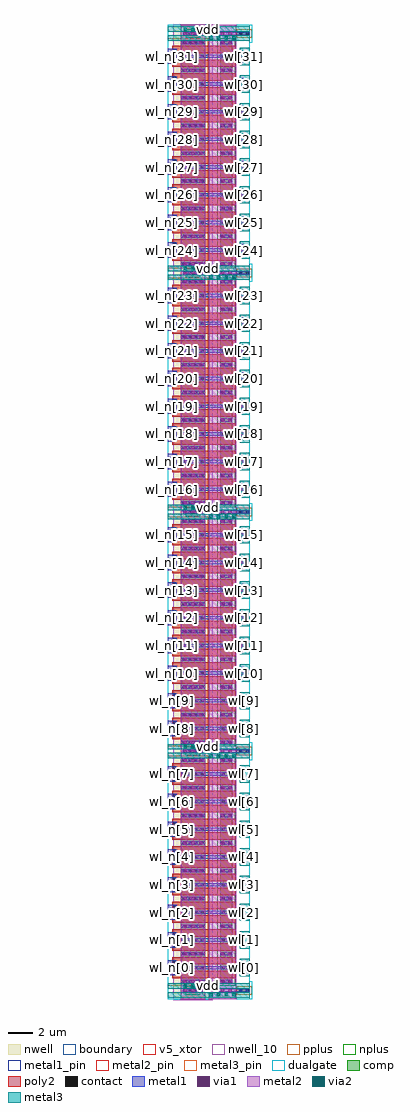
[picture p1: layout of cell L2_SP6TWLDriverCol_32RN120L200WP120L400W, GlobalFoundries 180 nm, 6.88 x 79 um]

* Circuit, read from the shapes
.subckt L2_SP6TWLDriverCol_32RN120L200WP120L400W vdd vss wl[0] wl[10] wl[11] wl[12] wl[13] wl[14] wl[15] wl[16] wl[17] wl[18] wl[19] wl[1] wl[20] wl[21] wl[22] wl[23] wl[24] wl[25] wl[26] wl[27] wl[28] wl[29] wl[2] wl[30] wl[31] wl[3] wl[4] wl[5] wl[6] wl[7] wl[8] wl[9] wl_n[0] wl_n[10] wl_n[11] wl_n[12] wl_n[13] wl_n[14] wl_n[15] wl_n[16] wl_n[17] wl_n[18] wl_n[19] wl_n[1] wl_n[20] wl_n[21] wl_n[22] wl_n[23] wl_n[24] wl_n[25] wl_n[26] wl_n[27] wl_n[28] wl_n[29] wl_n[2] wl_n[30] wl_n[31] wl_n[3] wl_n[4] wl_n[5] wl_n[6] wl_n[7] wl_n[8] wl_n[9]
XM1 wl[0] wl_n[0] vss vss nfet_05v0 w=1u l=0.6u m=2
XM2 wl[1] wl_n[1] vss vss nfet_05v0 w=1u l=0.6u m=2
XM3 wl[2] wl_n[2] vss vss nfet_05v0 w=1u l=0.6u m=2
XM4 wl[3] wl_n[3] vss vss nfet_05v0 w=1u l=0.6u m=2
XM5 wl[4] wl_n[4] vss vss nfet_05v0 w=1u l=0.6u m=2
XM6 wl[5] wl_n[5] vss vss nfet_05v0 w=1u l=0.6u m=2
XM7 wl[6] wl_n[6] vss vss nfet_05v0 w=1u l=0.6u m=2
XM8 wl[7] wl_n[7] vss vss nfet_05v0 w=1u l=0.6u m=2
XM9 wl[8] wl_n[8] vss vss nfet_05v0 w=1u l=0.6u m=2
XM10 wl[9] wl_n[9] vss vss nfet_05v0 w=1u l=0.6u m=2
XM11 wl[10] wl_n[10] vss vss nfet_05v0 w=1u l=0.6u m=2
XM12 wl[11] wl_n[11] vss vss nfet_05v0 w=1u l=0.6u m=2
XM13 wl[12] wl_n[12] vss vss nfet_05v0 w=1u l=0.6u m=2
XM14 wl[13] wl_n[13] vss vss nfet_05v0 w=1u l=0.6u m=2
XM15 wl[14] wl_n[14] vss vss nfet_05v0 w=1u l=0.6u m=2
XM16 wl[15] wl_n[15] vss vss nfet_05v0 w=1u l=0.6u m=2
XM17 wl[16] wl_n[16] vss vss nfet_05v0 w=1u l=0.6u m=2
XM18 wl[17] wl_n[17] vss vss nfet_05v0 w=1u l=0.6u m=2
XM19 wl[18] wl_n[18] vss vss nfet_05v0 w=1u l=0.6u m=2
XM20 wl[19] wl_n[19] vss vss nfet_05v0 w=1u l=0.6u m=2
XM21 wl[20] wl_n[20] vss vss nfet_05v0 w=1u l=0.6u m=2
XM22 wl[21] wl_n[21] vss vss nfet_05v0 w=1u l=0.6u m=2
XM23 wl[22] wl_n[22] vss vss nfet_05v0 w=1u l=0.6u m=2
XM24 wl[23] wl_n[23] vss vss nfet_05v0 w=1u l=0.6u m=2
XM25 wl[24] wl_n[24] vss vss nfet_05v0 w=1u l=0.6u m=2
XM26 wl[25] wl_n[25] vss vss nfet_05v0 w=1u l=0.6u m=2
XM27 wl[26] wl_n[26] vss vss nfet_05v0 w=1u l=0.6u m=2
XM28 wl[27] wl_n[27] vss vss nfet_05v0 w=1u l=0.6u m=2
XM29 wl[28] wl_n[28] vss vss nfet_05v0 w=1u l=0.6u m=2
XM30 wl[29] wl_n[29] vss vss nfet_05v0 w=1u l=0.6u m=2
XM31 wl[30] wl_n[30] vss vss nfet_05v0 w=1u l=0.6u m=2
XM32 wl[31] wl_n[31] vss vss nfet_05v0 w=1u l=0.6u m=2
XM33 wl[0] wl_n[0] vdd vdd pfet_05v0 w=2u l=0.6u m=2
XM34 wl[1] wl_n[1] vdd vdd pfet_05v0 w=2u l=0.6u m=2
XM35 wl[2] wl_n[2] vdd vdd pfet_05v0 w=2u l=0.6u m=2
XM36 wl[3] wl_n[3] vdd vdd pfet_05v0 w=2u l=0.6u m=2
XM37 wl[4] wl_n[4] vdd vdd pfet_05v0 w=2u l=0.6u m=2
XM38 wl[5] wl_n[5] vdd vdd pfet_05v0 w=2u l=0.6u m=2
XM39 wl[6] wl_n[6] vdd vdd pfet_05v0 w=2u l=0.6u m=2
XM40 wl[7] wl_n[7] vdd vdd pfet_05v0 w=2u l=0.6u m=2
XM41 wl[8] wl_n[8] vdd vdd pfet_05v0 w=2u l=0.6u m=2
XM42 wl[9] wl_n[9] vdd vdd pfet_05v0 w=2u l=0.6u m=2
XM43 wl[10] wl_n[10] vdd vdd pfet_05v0 w=2u l=0.6u m=2
XM44 wl[11] wl_n[11] vdd vdd pfet_05v0 w=2u l=0.6u m=2
XM45 wl[12] wl_n[12] vdd vdd pfet_05v0 w=2u l=0.6u m=2
XM46 wl[13] wl_n[13] vdd vdd pfet_05v0 w=2u l=0.6u m=2
XM47 wl[14] wl_n[14] vdd vdd pfet_05v0 w=2u l=0.6u m=2
XM48 wl[15] wl_n[15] vdd vdd pfet_05v0 w=2u l=0.6u m=2
XM49 wl[16] wl_n[16] vdd vdd pfet_05v0 w=2u l=0.6u m=2
XM50 wl[17] wl_n[17] vdd vdd pfet_05v0 w=2u l=0.6u m=2
XM51 wl[18] wl_n[18] vdd vdd pfet_05v0 w=2u l=0.6u m=2
XM52 wl[19] wl_n[19] vdd vdd pfet_05v0 w=2u l=0.6u m=2
XM53 wl[20] wl_n[20] vdd vdd pfet_05v0 w=2u l=0.6u m=2
XM54 wl[21] wl_n[21] vdd vdd pfet_05v0 w=2u l=0.6u m=2
XM55 wl[22] wl_n[22] vdd vdd pfet_05v0 w=2u l=0.6u m=2
XM56 wl[23] wl_n[23] vdd vdd pfet_05v0 w=2u l=0.6u m=2
XM57 wl[24] wl_n[24] vdd vdd pfet_05v0 w=2u l=0.6u m=2
XM58 wl[25] wl_n[25] vdd vdd pfet_05v0 w=2u l=0.6u m=2
XM59 wl[26] wl_n[26] vdd vdd pfet_05v0 w=2u l=0.6u m=2
XM60 wl[27] wl_n[27] vdd vdd pfet_05v0 w=2u l=0.6u m=2
XM61 wl[28] wl_n[28] vdd vdd pfet_05v0 w=2u l=0.6u m=2
XM62 wl[29] wl_n[29] vdd vdd pfet_05v0 w=2u l=0.6u m=2
XM63 wl[30] wl_n[30] vdd vdd pfet_05v0 w=2u l=0.6u m=2
XM64 wl[31] wl_n[31] vdd vdd pfet_05v0 w=2u l=0.6u m=2
.ends

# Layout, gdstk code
import gdstk
lib = gdstk.Library(unit=1e-6, precision=1e-09)
def R(c, l, rs):  # rectangles x0, y0, x1, y1
    for r in rs: c.add(gdstk.rectangle(r[:2], r[2:], *l))
def A(c, l, x, y, w, h, nx, ny, dx, dy):  # array of equal rectangles
    R(c, l, [(x+i*dx, y+j*dy, x+i*dx+w, y+j*dy+h) for i in range(nx) for j in range(ny)])
def P(c, l, *ps):  # polygons
    for p in ps: c.add(gdstk.Polygon(p, *l))
boundary = (0, 0)
nwell = (21, 0)
nwell_10 = (21, 10)
comp = (22, 0)
poly2 = (30, 0)
pplus = (31, 0)
nplus = (32, 0)
contact = (33, 0)
metal1 = (34, 0)
metal1_pin = (34, 10)
via1 = (35, 0)
metal2 = (36, 0)
metal2_pin = (36, 10)
via2 = (38, 0)
metal3 = (42, 0)
metal3_pin = (42, 10)
dualgate = (55, 0)
v5_xtor = (112, 1)

l2_sp6twldriver_n120l200 = lib.new_cell('L2_SP6TWLDriver_N120L200WP120L400W')
R(l2_sp6twldriver_n120l200, boundary, [(-6.64,0,0,2.24)])
R(l2_sp6twldriver_n120l200, nwell, [(-6.18,-0.78,-2.98,3.02)])
R(l2_sp6twldriver_n120l200, nwell_10, [(-6.18,-0.78,-2.98,3.02)])
R(l2_sp6twldriver_n120l200, comp, [(-5.58,-0.18,-3.58,2.42), (-5.58,-0.18,-3.58,2.42), (-2.38,-0.18,-1.38,2.42), (-2.38,-0.18,-1.38,2.42)])
P(l2_sp6twldriver_n120l200, poly2, [(-6.24,0.26),(-6.24,1.98),(-1.16,1.98),(-1.16,1.38),(-5.88,1.38),(-5.88,0.86),(-1.16,0.86),(-1.16,0.26)])
R(l2_sp6twldriver_n120l200, pplus, [(-6.64,-0.34,-3.35,2.58)])
R(l2_sp6twldriver_n120l200, nplus, [(-2.61,-0.34,-1.15,2.58)])
A(l2_sp6twldriver_n120l200, contact, -5.44, -0.11, 0.22, 0.22, 4, 3, 0.5, 1.12)
A(l2_sp6twldriver_n120l200, contact, -2.24, -0.11, 0.22, 0.22, 1, 3, 0, 1.12)
A(l2_sp6twldriver_n120l200, contact, -1.74, -0.11, 0.22, 0.22, 1, 3, 0, 1.12)
A(l2_sp6twldriver_n120l200, contact, -6.17, 0.51, 0.22, 0.22, 1, 3, 0, 0.5)
R(l2_sp6twldriver_n120l200, metal1, [(-5.58,-0.13,-3.58,0.13), (-2.38,-0.13,-1.38,0.13), (-6.64,0.505,-5.89,1.735), (-5.5,0.99,-0.43,1.25), (-5.58,2.11,-3.58,2.37), (-2.38,2.11,-1.38,2.37)])
R(l2_sp6twldriver_n120l200, metal1_pin, [(-6.64,0.505,-5.89,1.735)])
A(l2_sp6twldriver_n120l200, via1, -5.33, -0.13, 0.26, 0.26, 3, 2, 0.62, 2.24)
R(l2_sp6twldriver_n120l200, via1, [(-2.32,-0.13,-2.06,0.13), (-1.7,-0.13,-1.44,0.13), (-0.75,0.99,-0.49,1.25), (-2.32,2.11,-2.06,2.37), (-1.7,2.11,-1.44,2.37)])
R(l2_sp6twldriver_n120l200, metal2, [(-5.58,-0.14,-3.58,2.38), (-3.3,-0.14,-1.09,2.38), (-0.76,0.62,-0.48,1.62)])
R(l2_sp6twldriver_n120l200, metal2_pin, [(-5.58,-0.14,-3.58,2.38), (-3.3,-0.14,-1.09,2.38)])
R(l2_sp6twldriver_n120l200, via2, [(-0.75,0.68,-0.49,0.94), (-0.75,1.3,-0.49,1.56)])
R(l2_sp6twldriver_n120l200, metal3, [(-0.81,0.42,0,1.82)])
R(l2_sp6twldriver_n120l200, metal3_pin, [(-0.81,0.42,0,1.82)])
R(l2_sp6twldriver_n120l200, dualgate, [(-6.64,-0.42,0,2.66)])
R(l2_sp6twldriver_n120l200, v5_xtor, [(-5.585,0.255,-3.575,0.865), (-2.385,0.255,-1.375,0.865), (-5.585,1.375,-3.575,1.985), (-2.385,1.375,-1.375,1.985)])
l2_sp6twldriver_n120l200.add(gdstk.Label('wl_n', (-6.265,1.12), layer=34, texttype=10))
l2_sp6twldriver_n120l200.add(gdstk.Label('nwell', (-4.58,1.12), layer=21, texttype=10))
l2_sp6twldriver_n120l200.add(gdstk.Label('wl_drive', (-0.405,1.12), layer=42, texttype=10))
l2_sp6twldriver_n120l200.add(gdstk.Label('vdd', (-4.58,1.12), layer=36, texttype=10))
l2_sp6twldriver_n120l200.add(gdstk.Label('vss', (-2.195,1.12), layer=36, texttype=10))

l2_sp6twldriverbc_n120l2 = lib.new_cell('L2_SP6TWLDriverBC_N120L200WP120L400W')
R(l2_sp6twldriverbc_n120l2, boundary, [(-6.64,0,0,1.44)])
R(l2_sp6twldriverbc_n120l2, nwell, [(-6.18,-0.06,-2.98,1.5)])
R(l2_sp6twldriverbc_n120l2, nwell_10, [(-6.18,-0.06,-2.98,1.5)])
R(l2_sp6twldriverbc_n120l2, comp, [(-5.01,0.54,-4.15,0.9), (-0.86,0.54,0,0.9)])
R(l2_sp6twldriverbc_n120l2, pplus, [(-1.02,0.38,0.16,1.06)])
R(l2_sp6twldriverbc_n120l2, nplus, [(-5.17,0.38,-3.99,1.06)])
R(l2_sp6twldriverbc_n120l2, contact, [(-4.94,0.61,-4.72,0.83), (-4.44,0.61,-4.22,0.83), (-0.79,0.61,-0.57,0.83), (-0.29,0.61,-0.07,0.83)])
R(l2_sp6twldriverbc_n120l2, metal1, [(-5.39,0.59,-3.77,0.85)])
P(l2_sp6twldriverbc_n120l2, metal1, [(-3.005,0.59),(-3.005,0.85),(-1.385,0.85),(-1.385,0.835),(0,0.835),(0,0.605),(-1.385,0.605),(-1.385,0.59)])
A(l2_sp6twldriverbc_n120l2, via1, -5.33, 0.59, 0.26, 0.26, 3, 1, 0.62, 0)
A(l2_sp6twldriverbc_n120l2, via1, -2.945, 0.59, 0.26, 0.26, 3, 1, 0.62, 0)
R(l2_sp6twldriverbc_n120l2, metal2, [(-5.58,0,-3.58,1.44), (-3.3,0,-1.09,1.44)])
R(l2_sp6twldriverbc_n120l2, metal2_pin, [(-5.58,0,-3.58,1.44), (-3.3,0,-1.09,1.44)])
A(l2_sp6twldriverbc_n120l2, via2, -3.255, 0.23, 0.26, 0.26, 4, 1, 0.62, 0)
A(l2_sp6twldriverbc_n120l2, via2, -5.33, 0.95, 0.26, 0.26, 3, 1, 0.62, 0)
R(l2_sp6twldriverbc_n120l2, metal3, [(-6.64,0.14,0,0.58), (-6.64,0.86,0,1.3)])
R(l2_sp6twldriverbc_n120l2, metal3_pin, [(-6.64,0.14,0,0.58), (-6.64,0.86,0,1.3)])
R(l2_sp6twldriverbc_n120l2, dualgate, [(-6.64,0,0.24,1.44)])
l2_sp6twldriverbc_n120l2.add(gdstk.Label('vdd', (-4.58,0.72), layer=21, texttype=10))
l2_sp6twldriverbc_n120l2.add(gdstk.Label('vdd', (-3.32,1.08), layer=42, texttype=10))
l2_sp6twldriverbc_n120l2.add(gdstk.Label('vss', (-3.32,0.36), layer=42, texttype=10))
l2_sp6twldriverbc_n120l2.add(gdstk.Label('vdd', (-4.58,0.72), layer=36, texttype=10))
l2_sp6twldriverbc_n120l2.add(gdstk.Label('vss', (-2.195,0.72), layer=36, texttype=10))

l2_sp6twldrivercol_32rn1 = lib.new_cell('L2_SP6TWLDriverCol_32RN120L200WP120L400W')
R(l2_sp6twldrivercol_32rn1, boundary, [(0,0,6.64,78.88)])
A(l2_sp6twldrivercol_32rn1, metal1, 0, 1.945, 0.75, 1.23, 1, 8, 0, 2.24)
A(l2_sp6twldrivercol_32rn1, metal1, 0, 21.305, 0.75, 1.23, 1, 8, 0, 2.24)
A(l2_sp6twldrivercol_32rn1, metal1, 0, 40.665, 0.75, 1.23, 1, 8, 0, 2.24)
A(l2_sp6twldrivercol_32rn1, metal1, 0, 60.025, 0.75, 1.23, 1, 8, 0, 2.24)
A(l2_sp6twldrivercol_32rn1, metal1_pin, 0, 1.945, 0.75, 1.23, 1, 8, 0, 2.24)
A(l2_sp6twldrivercol_32rn1, metal1_pin, 0, 21.305, 0.75, 1.23, 1, 8, 0, 2.24)
A(l2_sp6twldrivercol_32rn1, metal1_pin, 0, 40.665, 0.75, 1.23, 1, 8, 0, 2.24)
A(l2_sp6twldrivercol_32rn1, metal1_pin, 0, 60.025, 0.75, 1.23, 1, 8, 0, 2.24)
R(l2_sp6twldrivercol_32rn1, metal2, [(1.06,0,3.06,78.88), (3.34,0,5.55,78.88)])
R(l2_sp6twldrivercol_32rn1, metal2_pin, [(1.06,0,3.06,78.88), (3.34,0,5.55,78.88)])
A(l2_sp6twldrivercol_32rn1, metal3, 5.83, 1.86, 0.81, 1.4, 1, 8, 0, 2.24)
A(l2_sp6twldrivercol_32rn1, metal3, 5.83, 21.22, 0.81, 1.4, 1, 8, 0, 2.24)
A(l2_sp6twldrivercol_32rn1, metal3, 5.83, 40.58, 0.81, 1.4, 1, 8, 0, 2.24)
A(l2_sp6twldrivercol_32rn1, metal3, 5.83, 59.94, 0.81, 1.4, 1, 8, 0, 2.24)
R(l2_sp6twldrivercol_32rn1, metal3, [(0,0.14,6.64,0.58), (0,0.86,6.64,1.3), (0,19.5,6.64,19.94), (0,20.22,6.64,20.66), (0,38.86,6.64,39.3), (0,39.58,6.64,40.02), (0,58.22,6.64,58.66), (0,58.94,6.64,59.38), (0,77.58,6.64,78.02), (0,78.3,6.64,78.74)])
A(l2_sp6twldrivercol_32rn1, metal3_pin, 5.83, 1.86, 0.81, 1.4, 1, 8, 0, 2.24)
A(l2_sp6twldrivercol_32rn1, metal3_pin, 5.83, 21.22, 0.81, 1.4, 1, 8, 0, 2.24)
A(l2_sp6twldrivercol_32rn1, metal3_pin, 5.83, 40.58, 0.81, 1.4, 1, 8, 0, 2.24)
A(l2_sp6twldrivercol_32rn1, metal3_pin, 5.83, 59.94, 0.81, 1.4, 1, 8, 0, 2.24)
R(l2_sp6twldrivercol_32rn1, metal3_pin, [(0,0.14,6.64,0.58), (0,0.86,6.64,1.3), (0,19.5,6.64,19.94), (0,20.22,6.64,20.66), (0,38.86,6.64,39.3), (0,39.58,6.64,40.02), (0,58.22,6.64,58.66), (0,58.94,6.64,59.38), (0,77.58,6.64,78.02), (0,78.3,6.64,78.74)])
l2_sp6twldrivercol_32rn1.add(gdstk.Reference(l2_sp6twldriver_n120l200, (6.64,3.68)))
l2_sp6twldrivercol_32rn1.add(gdstk.Reference(l2_sp6twldriver_n120l200, (6.64,8.16)))
l2_sp6twldrivercol_32rn1.add(gdstk.Reference(l2_sp6twldriver_n120l200, (6.64,12.64)))
l2_sp6twldrivercol_32rn1.add(gdstk.Reference(l2_sp6twldriver_n120l200, (6.64,17.12)))
l2_sp6twldrivercol_32rn1.add(gdstk.Reference(l2_sp6twldriver_n120l200, (6.64,23.04)))
l2_sp6twldrivercol_32rn1.add(gdstk.Reference(l2_sp6twldriver_n120l200, (6.64,27.52)))
l2_sp6twldrivercol_32rn1.add(gdstk.Reference(l2_sp6twldriver_n120l200, (6.64,32)))
l2_sp6twldrivercol_32rn1.add(gdstk.Reference(l2_sp6twldriver_n120l200, (6.64,36.48)))
l2_sp6twldrivercol_32rn1.add(gdstk.Reference(l2_sp6twldriver_n120l200, (6.64,42.4)))
l2_sp6twldrivercol_32rn1.add(gdstk.Reference(l2_sp6twldriver_n120l200, (6.64,46.88)))
l2_sp6twldrivercol_32rn1.add(gdstk.Reference(l2_sp6twldriver_n120l200, (6.64,51.36)))
l2_sp6twldrivercol_32rn1.add(gdstk.Reference(l2_sp6twldriver_n120l200, (6.64,55.84)))
l2_sp6twldrivercol_32rn1.add(gdstk.Reference(l2_sp6twldriver_n120l200, (6.64,61.76)))
l2_sp6twldrivercol_32rn1.add(gdstk.Reference(l2_sp6twldriver_n120l200, (6.64,66.24)))
l2_sp6twldrivercol_32rn1.add(gdstk.Reference(l2_sp6twldriver_n120l200, (6.64,70.72)))
l2_sp6twldrivercol_32rn1.add(gdstk.Reference(l2_sp6twldriver_n120l200, (6.64,75.2)))
l2_sp6twldrivercol_32rn1.add(gdstk.Reference(l2_sp6twldriver_n120l200, (6.64,3.68), x_reflection=True))
l2_sp6twldrivercol_32rn1.add(gdstk.Reference(l2_sp6twldriver_n120l200, (6.64,8.16), x_reflection=True))
l2_sp6twldrivercol_32rn1.add(gdstk.Reference(l2_sp6twldriver_n120l200, (6.64,12.64), x_reflection=True))
l2_sp6twldrivercol_32rn1.add(gdstk.Reference(l2_sp6twldriver_n120l200, (6.64,17.12), x_reflection=True))
l2_sp6twldrivercol_32rn1.add(gdstk.Reference(l2_sp6twldriver_n120l200, (6.64,23.04), x_reflection=True))
l2_sp6twldrivercol_32rn1.add(gdstk.Reference(l2_sp6twldriver_n120l200, (6.64,27.52), x_reflection=True))
l2_sp6twldrivercol_32rn1.add(gdstk.Reference(l2_sp6twldriver_n120l200, (6.64,32), x_reflection=True))
l2_sp6twldrivercol_32rn1.add(gdstk.Reference(l2_sp6twldriver_n120l200, (6.64,36.48), x_reflection=True))
l2_sp6twldrivercol_32rn1.add(gdstk.Reference(l2_sp6twldriver_n120l200, (6.64,42.4), x_reflection=True))
l2_sp6twldrivercol_32rn1.add(gdstk.Reference(l2_sp6twldriver_n120l200, (6.64,46.88), x_reflection=True))
l2_sp6twldrivercol_32rn1.add(gdstk.Reference(l2_sp6twldriver_n120l200, (6.64,51.36), x_reflection=True))
l2_sp6twldrivercol_32rn1.add(gdstk.Reference(l2_sp6twldriver_n120l200, (6.64,55.84), x_reflection=True))
l2_sp6twldrivercol_32rn1.add(gdstk.Reference(l2_sp6twldriver_n120l200, (6.64,61.76), x_reflection=True))
l2_sp6twldrivercol_32rn1.add(gdstk.Reference(l2_sp6twldriver_n120l200, (6.64,66.24), x_reflection=True))
l2_sp6twldrivercol_32rn1.add(gdstk.Reference(l2_sp6twldriver_n120l200, (6.64,70.72), x_reflection=True))
l2_sp6twldrivercol_32rn1.add(gdstk.Reference(l2_sp6twldriver_n120l200, (6.64,75.2), x_reflection=True))
l2_sp6twldrivercol_32rn1.add(gdstk.Reference(l2_sp6twldriverbc_n120l2, (6.64,0)))
l2_sp6twldrivercol_32rn1.add(gdstk.Reference(l2_sp6twldriverbc_n120l2, (6.64,19.36)))
l2_sp6twldrivercol_32rn1.add(gdstk.Reference(l2_sp6twldriverbc_n120l2, (6.64,38.72)))
l2_sp6twldrivercol_32rn1.add(gdstk.Reference(l2_sp6twldriverbc_n120l2, (6.64,58.08)))
l2_sp6twldrivercol_32rn1.add(gdstk.Reference(l2_sp6twldriverbc_n120l2, (6.64,77.44)))
l2_sp6twldrivercol_32rn1.add(gdstk.Label('wl_n[31]', (0.375,76.32), layer=34, texttype=10))
l2_sp6twldrivercol_32rn1.add(gdstk.Label('wl_n[30]', (0.375,74.08), layer=34, texttype=10))
l2_sp6twldrivercol_32rn1.add(gdstk.Label('wl_n[29]', (0.375,71.84), layer=34, texttype=10))
l2_sp6twldrivercol_32rn1.add(gdstk.Label('wl_n[9]', (0.375,24.16), layer=34, texttype=10))
l2_sp6twldrivercol_32rn1.add(gdstk.Label('wl_n[7]', (0.375,18.24), layer=34, texttype=10))
l2_sp6twldrivercol_32rn1.add(gdstk.Label('wl_n[3]', (0.375,9.28), layer=34, texttype=10))
l2_sp6twldrivercol_32rn1.add(gdstk.Label('wl_n[18]', (0.375,45.76), layer=34, texttype=10))
l2_sp6twldrivercol_32rn1.add(gdstk.Label('wl_n[11]', (0.375,28.64), layer=34, texttype=10))
l2_sp6twldrivercol_32rn1.add(gdstk.Label('wl_n[13]', (0.375,33.12), layer=34, texttype=10))
l2_sp6twldrivercol_32rn1.add(gdstk.Label('wl_n[10]', (0.375,26.4), layer=34, texttype=10))
l2_sp6twldrivercol_32rn1.add(gdstk.Label('wl_n[17]', (0.375,43.52), layer=34, texttype=10))
l2_sp6twldrivercol_32rn1.add(gdstk.Label('wl_n[14]', (0.375,35.36), layer=34, texttype=10))
l2_sp6twldrivercol_32rn1.add(gdstk.Label('wl_n[6]', (0.375,16), layer=34, texttype=10))
l2_sp6twldrivercol_32rn1.add(gdstk.Label('wl_n[2]', (0.375,7.04), layer=34, texttype=10))
l2_sp6twldrivercol_32rn1.add(gdstk.Label('wl_n[1]', (0.375,4.8), layer=34, texttype=10))
l2_sp6twldrivercol_32rn1.add(gdstk.Label('wl_n[8]', (0.375,21.92), layer=34, texttype=10))
l2_sp6twldrivercol_32rn1.add(gdstk.Label('wl_n[4]', (0.375,11.52), layer=34, texttype=10))
l2_sp6twldrivercol_32rn1.add(gdstk.Label('wl_n[25]', (0.375,62.88), layer=34, texttype=10))
l2_sp6twldrivercol_32rn1.add(gdstk.Label('wl_n[20]', (0.375,50.24), layer=34, texttype=10))
l2_sp6twldrivercol_32rn1.add(gdstk.Label('wl_n[27]', (0.375,67.36), layer=34, texttype=10))
l2_sp6twldrivercol_32rn1.add(gdstk.Label('wl_n[15]', (0.375,37.6), layer=34, texttype=10))
l2_sp6twldrivercol_32rn1.add(gdstk.Label('wl_n[5]', (0.375,13.76), layer=34, texttype=10))
l2_sp6twldrivercol_32rn1.add(gdstk.Label('wl_n[16]', (0.375,41.28), layer=34, texttype=10))
l2_sp6twldrivercol_32rn1.add(gdstk.Label('wl_n[24]', (0.375,60.64), layer=34, texttype=10))
l2_sp6twldrivercol_32rn1.add(gdstk.Label('wl_n[19]', (0.375,48), layer=34, texttype=10))
l2_sp6twldrivercol_32rn1.add(gdstk.Label('wl_n[12]', (0.375,30.88), layer=34, texttype=10))
l2_sp6twldrivercol_32rn1.add(gdstk.Label('wl_n[21]', (0.375,52.48), layer=34, texttype=10))
l2_sp6twldrivercol_32rn1.add(gdstk.Label('wl_n[23]', (0.375,56.96), layer=34, texttype=10))
l2_sp6twldrivercol_32rn1.add(gdstk.Label('wl_n[0]', (0.375,2.56), layer=34, texttype=10))
l2_sp6twldrivercol_32rn1.add(gdstk.Label('wl_n[26]', (0.375,65.12), layer=34, texttype=10))
l2_sp6twldrivercol_32rn1.add(gdstk.Label('wl_n[22]', (0.375,54.72), layer=34, texttype=10))
l2_sp6twldrivercol_32rn1.add(gdstk.Label('wl_n[28]', (0.375,69.6), layer=34, texttype=10))
l2_sp6twldrivercol_32rn1.add(gdstk.Label('wl[31]', (6.235,76.32), layer=42, texttype=10))
l2_sp6twldrivercol_32rn1.add(gdstk.Label('wl[29]', (6.235,71.84), layer=42, texttype=10))
l2_sp6twldrivercol_32rn1.add(gdstk.Label('wl[27]', (6.235,67.36), layer=42, texttype=10))
l2_sp6twldrivercol_32rn1.add(gdstk.Label('wl[6]', (6.235,16), layer=42, texttype=10))
l2_sp6twldrivercol_32rn1.add(gdstk.Label('wl[9]', (6.235,24.16), layer=42, texttype=10))
l2_sp6twldrivercol_32rn1.add(gdstk.Label('wl[23]', (6.235,56.96), layer=42, texttype=10))
l2_sp6twldrivercol_32rn1.add(gdstk.Label('wl[24]', (6.235,60.64), layer=42, texttype=10))
l2_sp6twldrivercol_32rn1.add(gdstk.Label('wl[3]', (6.235,9.28), layer=42, texttype=10))
l2_sp6twldrivercol_32rn1.add(gdstk.Label('wl[2]', (6.235,7.04), layer=42, texttype=10))
l2_sp6twldrivercol_32rn1.add(gdstk.Label('wl[28]', (6.235,69.6), layer=42, texttype=10))
l2_sp6twldrivercol_32rn1.add(gdstk.Label('wl[25]', (6.235,62.88), layer=42, texttype=10))
l2_sp6twldrivercol_32rn1.add(gdstk.Label('wl[7]', (6.235,18.24), layer=42, texttype=10))
l2_sp6twldrivercol_32rn1.add(gdstk.Label('wl[10]', (6.235,26.4), layer=42, texttype=10))
l2_sp6twldrivercol_32rn1.add(gdstk.Label('wl[0]', (6.235,2.56), layer=42, texttype=10))
l2_sp6twldrivercol_32rn1.add(gdstk.Label('vdd', (3.32,1.08), layer=42, texttype=10))
l2_sp6twldrivercol_32rn1.add(gdstk.Label('vdd', (3.32,20.44), layer=42, texttype=10))
l2_sp6twldrivercol_32rn1.add(gdstk.Label('vdd', (3.32,39.8), layer=42, texttype=10))
l2_sp6twldrivercol_32rn1.add(gdstk.Label('vdd', (3.32,59.16), layer=42, texttype=10))
l2_sp6twldrivercol_32rn1.add(gdstk.Label('vdd', (3.32,78.52), layer=42, texttype=10))
l2_sp6twldrivercol_32rn1.add(gdstk.Label('wl[20]', (6.235,50.24), layer=42, texttype=10))
l2_sp6twldrivercol_32rn1.add(gdstk.Label('wl[1]', (6.235,4.8), layer=42, texttype=10))
l2_sp6twldrivercol_32rn1.add(gdstk.Label('wl[8]', (6.235,21.92), layer=42, texttype=10))
l2_sp6twldrivercol_32rn1.add(gdstk.Label('vss', (3.32,0.36), layer=42, texttype=10))
l2_sp6twldrivercol_32rn1.add(gdstk.Label('vss', (3.32,19.72), layer=42, texttype=10))
l2_sp6twldrivercol_32rn1.add(gdstk.Label('vss', (3.32,39.08), layer=42, texttype=10))
l2_sp6twldrivercol_32rn1.add(gdstk.Label('vss', (3.32,58.44), layer=42, texttype=10))
l2_sp6twldrivercol_32rn1.add(gdstk.Label('vss', (3.32,77.8), layer=42, texttype=10))
l2_sp6twldrivercol_32rn1.add(gdstk.Label('wl[5]', (6.235,13.76), layer=42, texttype=10))
l2_sp6twldrivercol_32rn1.add(gdstk.Label('wl[12]', (6.235,30.88), layer=42, texttype=10))
l2_sp6twldrivercol_32rn1.add(gdstk.Label('wl[30]', (6.235,74.08), layer=42, texttype=10))
l2_sp6twldrivercol_32rn1.add(gdstk.Label('wl[26]', (6.235,65.12), layer=42, texttype=10))
l2_sp6twldrivercol_32rn1.add(gdstk.Label('wl[13]', (6.235,33.12), layer=42, texttype=10))
l2_sp6twldrivercol_32rn1.add(gdstk.Label('wl[15]', (6.235,37.6), layer=42, texttype=10))
l2_sp6twldrivercol_32rn1.add(gdstk.Label('wl[4]', (6.235,11.52), layer=42, texttype=10))
l2_sp6twldrivercol_32rn1.add(gdstk.Label('wl[16]', (6.235,41.28), layer=42, texttype=10))
l2_sp6twldrivercol_32rn1.add(gdstk.Label('wl[11]', (6.235,28.64), layer=42, texttype=10))
l2_sp6twldrivercol_32rn1.add(gdstk.Label('wl[17]', (6.235,43.52), layer=42, texttype=10))
l2_sp6twldrivercol_32rn1.add(gdstk.Label('wl[19]', (6.235,48), layer=42, texttype=10))
l2_sp6twldrivercol_32rn1.add(gdstk.Label('wl[14]', (6.235,35.36), layer=42, texttype=10))
l2_sp6twldrivercol_32rn1.add(gdstk.Label('wl[22]', (6.235,54.72), layer=42, texttype=10))
l2_sp6twldrivercol_32rn1.add(gdstk.Label('wl[18]', (6.235,45.76), layer=42, texttype=10))
l2_sp6twldrivercol_32rn1.add(gdstk.Label('wl[21]', (6.235,52.48), layer=42, texttype=10))
l2_sp6twldrivercol_32rn1.add(gdstk.Label('vdd', (2.06,39.44), layer=36, texttype=10))
l2_sp6twldrivercol_32rn1.add(gdstk.Label('vss', (4.445,39.44), layer=36, texttype=10))

lib.write_gds('L2_SP6TWLDriverCol_32RN120L200WP120L400W.gds')
